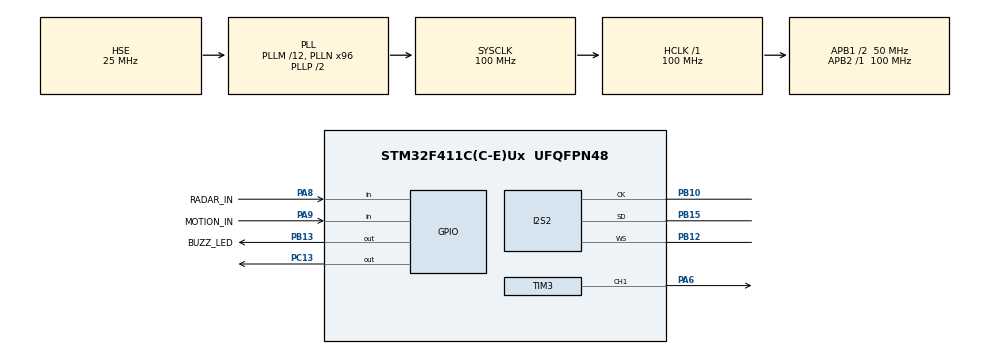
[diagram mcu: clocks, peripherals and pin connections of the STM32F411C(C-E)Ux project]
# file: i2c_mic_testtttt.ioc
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Dma.Request0=SPI2_RX
Dma.SPI2_RX.0.Direction=DMA_PERIPH_TO_MEMORY
Dma.SPI2_RX.0.FIFOMode=DMA_FIFOMODE_DISABLE
Dma.SPI2_RX.0.Instance=DMA1_Stream3
Dma.SPI2_RX.0.MemDataAlignment=DMA_MDATAALIGN_HALFWORD
Dma.SPI2_RX.0.MemInc=DMA_MINC_ENABLE
Dma.SPI2_RX.0.Mode=DMA_CIRCULAR
Dma.SPI2_RX.0.PeriphDataAlignment=DMA_PDATAALIGN_HALFWORD
Dma.SPI2_RX.0.PeriphInc=DMA_PINC_DISABLE
Dma.SPI2_RX.0.Priority=DMA_PRIORITY_LOW
I2S2.AudioFreq=I2S_AUDIOFREQ_32K
I2S2.DataFormat=I2S_DATAFORMAT_16B_EXTENDED
I2S2.ErrorAudioFreq=0.33 %
I2S2.FullDuplexMode=I2S_FULLDUPLEXMODE_DISABLE
I2S2.Instance=SPI$Index
I2S2.Mode=I2S_MODE_MASTER_RX
I2S2.RealAudioFreq=32.106 KHz
I2S2.VirtualMode=I2S_MODE_MASTER
Mcu.Family=STM32F4
Mcu.Name=STM32F411C(C-E)Ux
Mcu.Package=UFQFPN48
NVIC.DMA1_Stream3_IRQn=true\:0\:0\:false\:false\:true\:false\:true\:true
NVIC.PriorityGroup=NVIC_PRIORITYGROUP_4
NVIC.RCC_IRQn=true\:0\:0\:false\:false\:true\:true\:false\:true
PA13.Mode=Serial_Wire
PA13.Signal=SYS_JTMS-SWDIO
PA14.Mode=Serial_Wire
PA14.Signal=SYS_JTCK-SWCLK
PA6.Signal=S_TIM3_CH1
PA8.GPIO_Label=RADAR_IN
PA8.Signal=GPIO_Input
PA9.GPIO_Label=MOTION_IN
PA9.Signal=GPIO_Input
PB10.Mode=Half_Duplex_Master
PB10.Signal=I2S2_CK
PB12.Mode=Half_Duplex_Master
PB12.Signal=I2S2_WS
PB13.GPIO_Label=BUZZ_LED
PB13.Signal=GPIO_Output
PB15.Mode=Half_Duplex_Master
PB15.Signal=I2S2_SD
PC13-ANTI_TAMP.Signal=GPIO_Output
PH0\ -\ OSC_IN.Mode=HSE-External-Oscillator
PH0\ -\ OSC_IN.Signal=RCC_OSC_IN
PH1\ -\ OSC_OUT.Mode=HSE-External-Oscillator
PH1\ -\ OSC_OUT.Signal=RCC_OSC_OUT
ProjectManager.HeapSize=0x200
ProjectManager.StackSize=0x400
ProjectManager.TargetToolchain=STM32CubeIDE
RCC.48MHZClocksFreq_Value=50000000
RCC.AHBFreq_Value=100000000
RCC.APB1CLKDivider=RCC_HCLK_DIV2
RCC.APB1Freq_Value=50000000
RCC.APB1TimFreq_Value=100000000
RCC.APB2Freq_Value=100000000
RCC.APB2TimFreq_Value=100000000
RCC.CortexFreq_Value=100000000
RCC.HCLKFreq_Value=100000000
RCC.HSE_VALUE=25000000
RCC.HSI_VALUE=16000000
RCC.LSE_VALUE=32768
RCC.PLLM=12
RCC.PLLN=96
RCC.PLLSourceVirtual=RCC_PLLSOURCE_HSE
RCC.SYSCLKFreq_VALUE=100000000
RCC.SYSCLKSource=RCC_SYSCLKSOURCE_PLLCLK
RCC.VCOOutputFreq_Value=200000000
SH.S_TIM3_CH1.0=TIM3_CH1,PWM Generation1 CH1
TIM3.AutoReloadPreload=TIM_AUTORELOAD_PRELOAD_ENABLE
TIM3.Channel-PWM\ Generation1\ CH1=TIM_CHANNEL_1
TIM3.Period=100
TIM3.Prescaler=127
VP_TIM3_VS_ClockSourceINT.Mode=Internal
board=custom

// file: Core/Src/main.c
/* USER CODE BEGIN Header */
/**
  ******************************************************************************
  * @file           : main.c
  * @brief          : Main program body
  ******************************************************************************
  * @attention
  *
  * Copyright (c) 2024 STMicroelectronics.
  * All rights reserved.
  *
  * This software is licensed under terms that can be found in the LICENSE file
  * in the root directory of this software component.
  * If no LICENSE file comes with this software, it is provided AS-IS.
  *
  ******************************************************************************
  */
/* USER CODE END Header */
#include "main.h"

I2S_HandleTypeDef hi2s2;
DMA_HandleTypeDef hdma_spi2_rx;

TIM_HandleTypeDef htim3;

/* USER CODE BEGIN PV */
int16_t data_i2s[10];
volatile int16_t sample_i2s;
uint8_t i2s_tick = 0;
int dB_val;
uint16_t _max = 0;
uint16_t _min = 0;
uint8_t alarm = 0;

uint8_t radar = 0;
uint8_t motion = 0;
uint8_t last_motion = 0;
/* USER CODE END PV */

void SystemClock_Config(void);
static void MX_GPIO_Init(void);
static void MX_DMA_Init(void);
static void MX_I2S2_Init(void);
static void MX_TIM3_Init(void);

/* USER CODE BEGIN 0 */

void HAL_I2S_RxCpltCallback(I2S_HandleTypeDef *hi2s){
	sample_i2s = data_i2s[0];
	i2s_tick = 255;
}

/* USER CODE END 0 */

int main(void)
{

  /* MCU Configuration--------------------------------------------------------*/

  /* Reset of all peripherals, Initializes the Flash interface and the Systick. */
  HAL_Init();

  /* Configure the system clock */
  SystemClock_Config();

  /* Initialize all configured peripherals */
  MX_GPIO_Init();
  MX_DMA_Init();
  MX_I2S2_Init();
  MX_TIM3_Init();
  /* USER CODE BEGIN 2 */
  HAL_I2S_Receive_DMA(&hi2s2,(uint16_t*)data_i2s, sizeof(data_i2s)/2);
  HAL_TIM_PWM_Start(&htim3, TIM_CHANNEL_1);

  alarm = 0;
  HAL_Delay(1000);
  /* USER CODE END 2 */

  /* Infinite loop */
  /* USER CODE BEGIN WHILE */
  while (1)
  {
	  if(i2s_tick == 255){
		  _max = 0;
		  _min = 0;
		  for(int i = 0; i < 10;i++){
			  if(data_i2s[i] >= _max){
				  _max = data_i2s[i];
			  }
			  if(data_i2s[i] <= (~_min + 1)){
				  _min = (~data_i2s[i] + 1);
			  }
		  }
		  dB_val = _max + _min;

		  i2s_tick = 0;
	  }
	  radar = HAL_GPIO_ReadPin(RADAR_IN_GPIO_Port, RADAR_IN_Pin);
	  motion = HAL_GPIO_ReadPin(MOTION_IN_GPIO_Port, MOTION_IN_Pin);
//	  if((sample_i2s >= 500) || (sample_i2s <= -500)){
//		  alarm = 0xff;
//	  }
	  if(motion != last_motion){
		  alarm = 0xff;
	  }
	  else{
		  alarm = 0;
	  }
	  last_motion = motion;

	  if(alarm){
		  htim3.Instance->ARR = 800;
		  htim3.Instance->CCR1 = (float) htim3.Instance->ARR * 0.9f;
		  HAL_GPIO_WritePin(GPIOC, GPIO_PIN_13, RESET);
		  HAL_GPIO_WritePin(BUZZ_LED_GPIO_Port, BUZZ_LED_Pin, SET);
		  HAL_Delay(200);
		  htim3.Instance->ARR = 1200;
		  htim3.Instance->CCR1 = (float) htim3.Instance->ARR * 0.9f;
		  HAL_GPIO_WritePin(GPIOC, GPIO_PIN_13, SET);
		  HAL_GPIO_WritePin(BUZZ_LED_GPIO_Port, BUZZ_LED_Pin, RESET);
		  HAL_Delay(200);
	  }
	  else{
		  htim3.Instance->ARR = 1200;
		  htim3.Instance->CCR1 = 0;
		  HAL_GPIO_WritePin(GPIOC, GPIO_PIN_13, RESET);
		  HAL_GPIO_WritePin(BUZZ_LED_GPIO_Port, BUZZ_LED_Pin, RESET);
	  }
    /* USER CODE END WHILE */

  }
}

void SystemClock_Config(void)
{
  RCC_OscInitTypeDef RCC_OscInitStruct = {0};
  RCC_ClkInitTypeDef RCC_ClkInitStruct = {0};

  /** Configure the main internal regulator output voltage
  */
  __HAL_RCC_PWR_CLK_ENABLE();
  __HAL_PWR_VOLTAGESCALING_CONFIG(PWR_REGULATOR_VOLTAGE_SCALE1);

  /** Initializes the RCC Oscillators according to the specified parameters
  * in the RCC_OscInitTypeDef structure.
  */
  RCC_OscInitStruct.OscillatorType = RCC_OSCILLATORTYPE_HSE;
  RCC_OscInitStruct.HSEState = RCC_HSE_ON;
  RCC_OscInitStruct.PLL.PLLState = RCC_PLL_ON;
  RCC_OscInitStruct.PLL.PLLSource = RCC_PLLSOURCE_HSE;
  RCC_OscInitStruct.PLL.PLLM = 12;
  RCC_OscInitStruct.PLL.PLLN = 96;
  RCC_OscInitStruct.PLL.PLLP = RCC_PLLP_DIV2;
  RCC_OscInitStruct.PLL.PLLQ = 4;
  if (HAL_RCC_OscConfig(&RCC_OscInitStruct) != HAL_OK)
  {
    Error_Handler();
  }

  /** Initializes the CPU, AHB and APB buses clocks
  */
  RCC_ClkInitStruct.ClockType = RCC_CLOCKTYPE_HCLK|RCC_CLOCKTYPE_SYSCLK
                              |RCC_CLOCKTYPE_PCLK1|RCC_CLOCKTYPE_PCLK2;
  RCC_ClkInitStruct.SYSCLKSource = RCC_SYSCLKSOURCE_PLLCLK;
  RCC_ClkInitStruct.AHBCLKDivider = RCC_SYSCLK_DIV1;
  RCC_ClkInitStruct.APB1CLKDivider = RCC_HCLK_DIV2;
  RCC_ClkInitStruct.APB2CLKDivider = RCC_HCLK_DIV1;

  if (HAL_RCC_ClockConfig(&RCC_ClkInitStruct, FLASH_LATENCY_3) != HAL_OK)
  {
    Error_Handler();
  }
}

static void MX_I2S2_Init(void)
{

  hi2s2.Instance = SPI2;
  hi2s2.Init.Mode = I2S_MODE_MASTER_RX;
  hi2s2.Init.Standard = I2S_STANDARD_PHILIPS;
  hi2s2.Init.DataFormat = I2S_DATAFORMAT_16B_EXTENDED;
  hi2s2.Init.MCLKOutput = I2S_MCLKOUTPUT_DISABLE;
  hi2s2.Init.AudioFreq = I2S_AUDIOFREQ_32K;
  hi2s2.Init.CPOL = I2S_CPOL_LOW;
  hi2s2.Init.ClockSource = I2S_CLOCK_PLL;
  hi2s2.Init.FullDuplexMode = I2S_FULLDUPLEXMODE_DISABLE;
  if (HAL_I2S_Init(&hi2s2) != HAL_OK)
  {
    Error_Handler();
  }

}

static void MX_TIM3_Init(void)
{

  TIM_ClockConfigTypeDef sClockSourceConfig = {0};
  TIM_MasterConfigTypeDef sMasterConfig = {0};
  TIM_OC_InitTypeDef sConfigOC = {0};

  htim3.Instance = TIM3;
  htim3.Init.Prescaler = 127;
  htim3.Init.CounterMode = TIM_COUNTERMODE_UP;
  htim3.Init.Period = 100;
  htim3.Init.ClockDivision = TIM_CLOCKDIVISION_DIV1;
  htim3.Init.AutoReloadPreload = TIM_AUTORELOAD_PRELOAD_ENABLE;
  if (HAL_TIM_Base_Init(&htim3) != HAL_OK)
  {
    Error_Handler();
  }
  sClockSourceConfig.ClockSource = TIM_CLOCKSOURCE_INTERNAL;
  if (HAL_TIM_ConfigClockSource(&htim3, &sClockSourceConfig) != HAL_OK)
  {
    Error_Handler();
  }
  if (HAL_TIM_PWM_Init(&htim3) != HAL_OK)
  {
    Error_Handler();
  }
  sMasterConfig.MasterOutputTrigger = TIM_TRGO_RESET;
  sMasterConfig.MasterSlaveMode = TIM_MASTERSLAVEMODE_DISABLE;
  if (HAL_TIMEx_MasterConfigSynchronization(&htim3, &sMasterConfig) != HAL_OK)
  {
    Error_Handler();
  }
  sConfigOC.OCMode = TIM_OCMODE_PWM1;
  sConfigOC.Pulse = 0;
  sConfigOC.OCPolarity = TIM_OCPOLARITY_HIGH;
  sConfigOC.OCFastMode = TIM_OCFAST_DISABLE;
  if (HAL_TIM_PWM_ConfigChannel(&htim3, &sConfigOC, TIM_CHANNEL_1) != HAL_OK)
  {
    Error_Handler();
  }
  HAL_TIM_MspPostInit(&htim3);

}

static void MX_DMA_Init(void)
{

  /* DMA controller clock enable */
  __HAL_RCC_DMA1_CLK_ENABLE();

  /* DMA interrupt init */
  /* DMA1_Stream3_IRQn interrupt configuration */
  HAL_NVIC_SetPriority(DMA1_Stream3_IRQn, 0, 0);
  HAL_NVIC_EnableIRQ(DMA1_Stream3_IRQn);

}

static void MX_GPIO_Init(void)
{
  GPIO_InitTypeDef GPIO_InitStruct = {0};

  /* GPIO Ports Clock Enable */
  __HAL_RCC_GPIOC_CLK_ENABLE();
  __HAL_RCC_GPIOH_CLK_ENABLE();
  __HAL_RCC_GPIOA_CLK_ENABLE();
  __HAL_RCC_GPIOB_CLK_ENABLE();

  /*Configure GPIO pin Output Level */
  HAL_GPIO_WritePin(GPIOC, GPIO_PIN_13, GPIO_PIN_RESET);

  /*Configure GPIO pin Output Level */
  HAL_GPIO_WritePin(BUZZ_LED_GPIO_Port, BUZZ_LED_Pin, GPIO_PIN_RESET);

  /*Configure GPIO pin : PC13 */
  GPIO_InitStruct.Pin = GPIO_PIN_13;
  GPIO_InitStruct.Mode = GPIO_MODE_OUTPUT_PP;
  GPIO_InitStruct.Pull = GPIO_NOPULL;
  GPIO_InitStruct.Speed = GPIO_SPEED_FREQ_LOW;
  HAL_GPIO_Init(GPIOC, &GPIO_InitStruct);

  /*Configure GPIO pin : BUZZ_LED_Pin */
  GPIO_InitStruct.Pin = BUZZ_LED_Pin;
  GPIO_InitStruct.Mode = GPIO_MODE_OUTPUT_PP;
  GPIO_InitStruct.Pull = GPIO_NOPULL;
  GPIO_InitStruct.Speed = GPIO_SPEED_FREQ_LOW;
  HAL_GPIO_Init(BUZZ_LED_GPIO_Port, &GPIO_InitStruct);

  /*Configure GPIO pins : RADAR_IN_Pin MOTION_IN_Pin */
  GPIO_InitStruct.Pin = RADAR_IN_Pin|MOTION_IN_Pin;
  GPIO_InitStruct.Mode = GPIO_MODE_INPUT;
  GPIO_InitStruct.Pull = GPIO_NOPULL;
  HAL_GPIO_Init(GPIOA, &GPIO_InitStruct);

}

void Error_Handler(void)
{
  __disable_irq();
  while (1)
  {
  }
}
